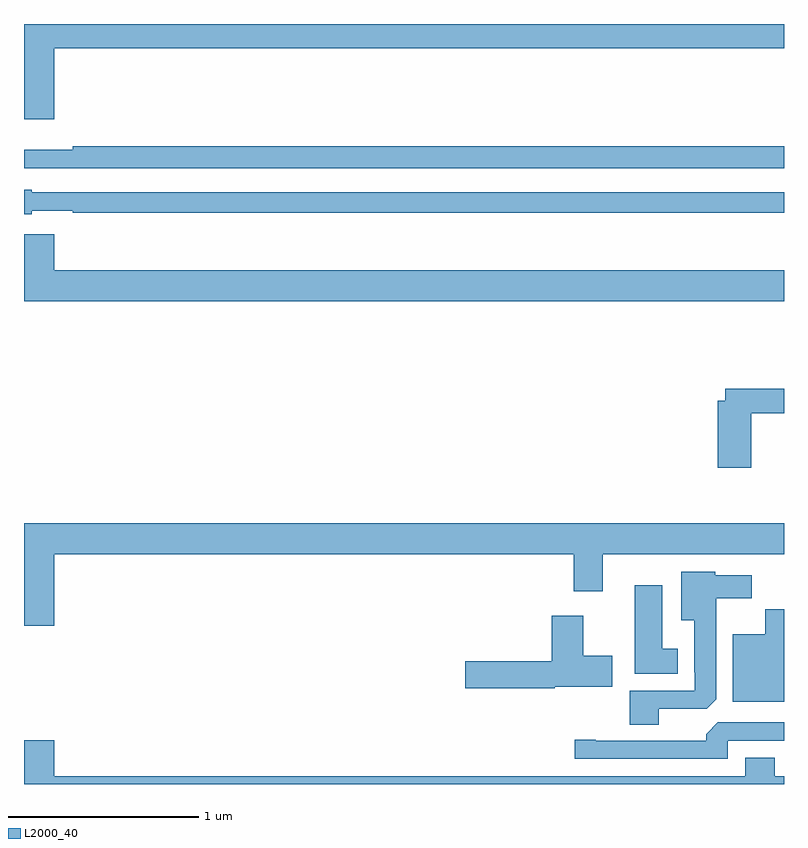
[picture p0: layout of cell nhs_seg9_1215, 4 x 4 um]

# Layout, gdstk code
import gdstk
lib = gdstk.Library(unit=1e-6, precision=1e-09)
def P(c, l, *ps):  # polygons
    for p in ps: c.add(gdstk.Polygon(p, *l))
L2000_40 = (2000, 40)

nhs_seg9_1215 = lib.new_cell('nhs_seg9_1215')
P(nhs_seg9_1215, L2000_40, [(177.16,1244.372),(181,1244.372),(181,1244.5),(177,1244.5),(177,1243.998),(177.16,1243.998)],
  [(181,1243.856),(177.256,1243.856),(177.256,1243.837),(177,1243.837),(177,1243.74),(181,1243.74)],
  [(177.042,1243.518),(177.256,1243.518),(177.256,1243.506),(181,1243.506),(181,1243.614),(177.042,1243.614),(177.042,1243.627),(177,1243.627),(177,1243.498),(177.042,1243.498)],
  [(181,1243.204),(177.16,1243.204),(177.16,1243.393),(177,1243.393),(177,1243.04),(181,1243.04)],
  [(180.828,1242.451),(181,1242.451),(181,1242.58),(180.692,1242.58),(180.692,1242.517),(180.65,1242.517),(180.65,1242.165),(180.828,1242.165)],
  [(177.16,1241.708),(179.894,1241.708),(179.894,1241.514),(180.046,1241.514),(180.046,1241.708),(181,1241.708),(181,1241.872),(177,1241.872),(177,1241.334),(177.16,1241.334)],
  [(180.34,1240.896),(180.594,1240.896),(180.643,1240.945),(180.643,1241.477),(180.829,1241.477),(180.829,1241.599),(180.639,1241.599),(180.639,1241.617),(180.458,1241.617),(180.458,1241.363),(180.527,1241.363),(180.527,1241.089),(180.531,1241.089),(180.531,1240.992),(180.188,1240.992),(180.188,1240.813),(180.34,1240.813)],
  [(180.442,1241.212),(180.358,1241.212),(180.358,1241.545),(180.215,1241.545),(180.215,1241.081),(180.442,1241.081)],
  [(181,1241.419),(180.902,1241.419),(180.902,1241.287),(180.731,1241.287),(180.731,1240.934),(181,1240.934)],
  [(179.793,1241.012),(180.097,1241.012),(180.097,1241.175),(179.944,1241.175),(179.944,1241.386),(179.777,1241.386),(179.777,1241.147),(179.322,1241.147),(179.322,1241.005),(179.793,1241.005)],
  [(180.705,1240.728),(181,1240.728),(181,1240.824),(180.651,1240.824),(180.59,1240.762),(180.59,1240.728),(180.01,1240.728),(180.01,1240.733),(179.898,1240.733),(179.898,1240.632),(180.705,1240.632)],
  [(181,1240.54),(180.95,1240.54),(180.95,1240.639),(180.797,1240.639),(180.797,1240.54),(177.16,1240.54),(177.16,1240.729),(177,1240.729),(177,1240.5),(181,1240.5)])

lib.write_gds('nhs_seg9_1215.gds')
